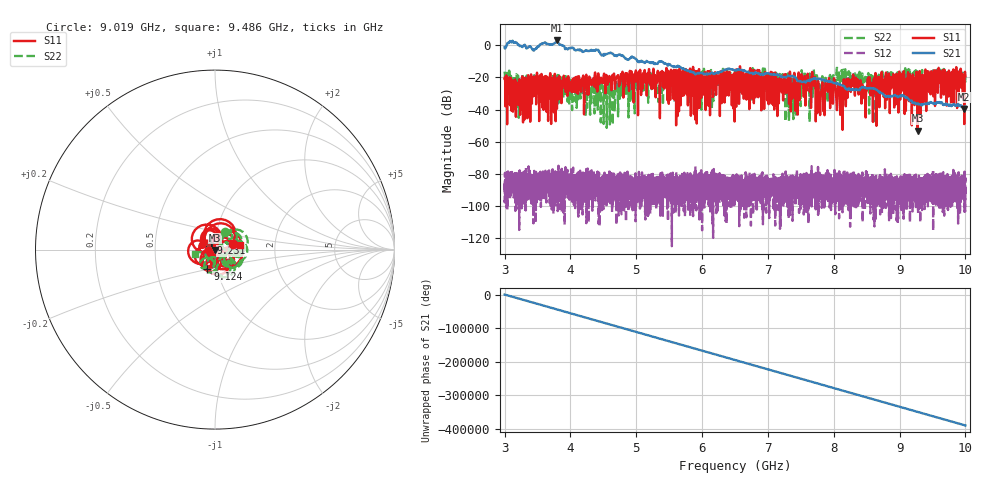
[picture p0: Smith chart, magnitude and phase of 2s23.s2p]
!Agilent Technologies,E8363B,MY43030572,A.06.04.32
!Agilent E8363B: A.06.04.32
!Date: Monday, June 06, 2011 14:35:03
!Correction: S11(Full 2 Port(1,2)) S21(Full 2 Port(1,2)) S12(Full 2 Port(1,2)) S22(Full 2 Port(1,2))
!S2P File: Measurements: S11, S21, S12, S22:
# Hz S  dB  R 50
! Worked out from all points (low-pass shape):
!   6401 points, 3 GHz to 10 GHz, reference 50 ohm
!   highest |S21| = 2.85 dB at 3.8 GHz (marker M1); lowest = -39.6 dB at 9.977 GHz (marker M2)
!   |S21| within 3 dB of the highest: 3.032 GHz to 3.224 GHz (192.1 MHz wide, 6.14 % of centre); 3.53 GHz to 3.874 GHz (344.1 MHz wide, 9.29 % of centre)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
!   lowest |S11| = -53.1 dB at 9.273 GHz (marker M3), VSWR 1.00, Z = 50 - j0.221 ohm
!   |S11| at or under -10 dB: start of sweep to end of sweep
!   |S22| runs from -51.4 to -14.1 dB; largest |S21 - S12| = 1.4
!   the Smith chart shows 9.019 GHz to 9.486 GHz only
!   S11 on the Smith chart (normalised r, x): 9.019 GHz: 1.21, +0.08; 9.124 GHz: 0.90, -0.19; 9.231 GHz: 0.95, +0.07; 9.486 GHz: 1.32, +0.07
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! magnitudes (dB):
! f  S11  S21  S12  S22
! 3 GHz  -20.8  -1.2  -96.2  -16.5
! 3.224 GHz  -21.4  -0.2  -93.9  -20.2
! 3.8 GHz  -25.0  2.8  -86.6  -33.2
! 4.167 GHz  -22.5  -3.2  -90.0  -24.3
! 4.648 GHz  -21.3  -5.5  -83.2  -29.1
! 5.131 GHz  -16.2  -11.0  -88.2  -19.4
! 5.334 GHz  -19.3  -10.7  -87.9  -30.3
! 6.5 GHz  -19.1  -15.8  -91.0  -21.7
! 7.667 GHz  -17.8  -21.4  -96.7  -18.8
! 7.761 GHz  -22.4  -21.1  -75.6  -21.3
! 7.904 GHz  -26.7  -22.4  -82.0  -28.8
! 8.108 GHz  -26.1  -24.6  -94.8  -21.5
! 8.275 GHz  -22.7  -27.4  -90.4  -19.6
! 8.455 GHz  -27.4  -26.1  -82.7  -21.5
! 8.834 GHz  -19.3  -31.6  -83.2  -20.7
! 9.019 GHz  -19.7  -31.7  -87.6  -18.9
! 9.124 GHz  -18.8  -32.9  -90.5  -27.4
! 9.231 GHz  -27.1  -35.9  -83.9  -23.3
! 9.273 GHz  -53.1  -36.4  -85.7  -16.6
! 9.486 GHz  -17.0  -35.7  -92.8  -18.7
! 9.977 GHz  -21.1  -39.6  -81.9  -17.4
! 10 GHz  -19.2  -38.0  -91.9  -19.4
